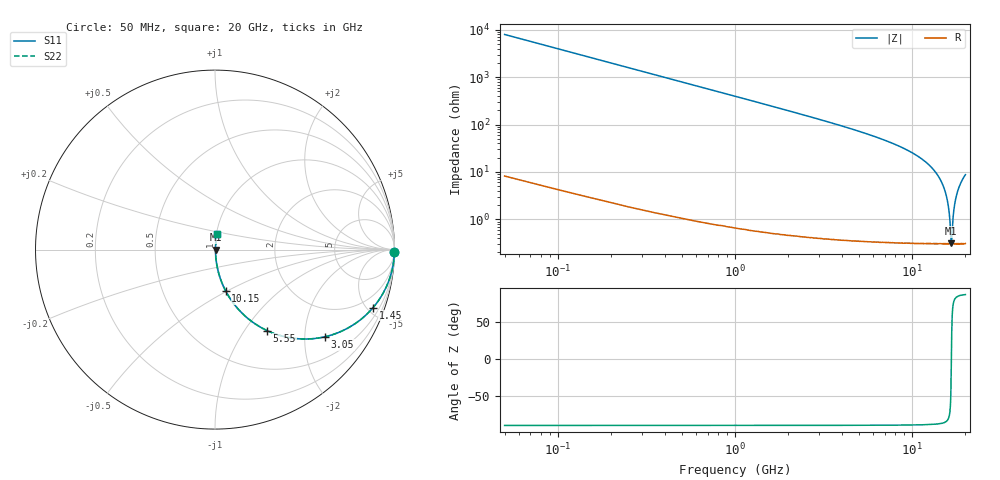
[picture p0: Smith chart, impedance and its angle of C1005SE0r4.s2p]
!	AVX	Thin	Film	Operation
!	Date:	March 2012
!	Description: Ultra-Miniature 01005 Size ACCU - P® Thin Film RF / Microwave Capacitor
!	Part Number:  C005YJ0R4ABSTR
!	Serial	Measurements
#	MHz	S	db	R	50
!	S11	S21	S12	S22
!	dB	Phase	dB	Phase	dB	Phase	dB	Phase
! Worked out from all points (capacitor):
!   400 points, 50 MHz to 20 GHz, reference 50 ohm
!   read as one part in series: C = 400 fF near 150 MHz
!   lowest |Z| = 312 mohm at 16.65 GHz (marker M1)
!   series resonance near 16.67 GHz, so ESL is about 230 pH
!   S11 on the Smith chart (normalised r, x): 50 MHz: open; 1.45 GHz: 1.01, -5.45; 3.05 GHz: 1.01, -2.52; 5.55 GHz: 1.01, -1.27; 10.15 GHz: 1.01, -0.49; 20 GHz: 1.01, +0.18
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50  -0.00 -0.7  -38.02 89.2  -38.02 89.2  -0.00 -0.7
100  -0.00 -1.4  -32.00 88.5  -32.00 88.5  -0.00 -1.4
150  -0.01 -2.2  -28.48 87.8  -28.48 87.8  -0.01 -2.2
400  -0.04 -5.7  -19.99 84.2  -19.99 84.2  -0.04 -5.7
800  -0.17 -11.4  -14.09 78.5  -14.09 78.5  -0.17 -11.4
1450  -0.56 -20.1  -9.26 69.7  -9.26 69.7  -0.56 -20.1
3050  -2.13 -38.3  -4.15 51.5  -4.15 51.5  -2.13 -38.3
3400  -2.56 -41.6  -3.55 48.2  -3.55 48.2  -2.56 -41.6
5550  -5.41 -57.3  -1.50 32.4  -1.50 32.4  -5.41 -57.3
6700  -7.04 -63.2  -0.98 26.4  -0.98 26.4  -7.04 -63.2
10050  -12.27 -75.2  -0.29 14.1  -0.29 14.1  -12.27 -75.2
10150  -12.44 -75.5  -0.28 13.8  -0.28 13.8  -12.44 -75.5
13350  -19.50 -82.3  -0.08 6.1  -0.08 6.1  -19.50 -82.3
14750  -24.69 -83.7  -0.04 3.3  -0.04 3.3  -24.69 -83.7
15700  -30.88 -82.2  -0.03 1.6  -0.03 1.6  -30.88 -82.2
16250  -38.13 -75.1  -0.03 0.7  -0.03 0.7  -38.13 -75.1
16650  -50.23 -8.3  -0.03 0.0  -0.03 0.0  -50.23 -8.3
16700  -49.89 17.8  -0.03 -0.1  -0.03 -0.1  -49.89 17.8
17050  -38.96 73.7  -0.03 -0.6  -0.03 -0.6  -38.96 73.7
17650  -31.22 82.1  -0.03 -1.6  -0.03 -1.6  -31.22 82.1
18600  -25.61 83.7  -0.04 -3.0  -0.04 -3.0  -25.61 83.7
20000  -21.21 83.0  -0.06 -5.0  -0.06 -5.0  -21.21 83.0
